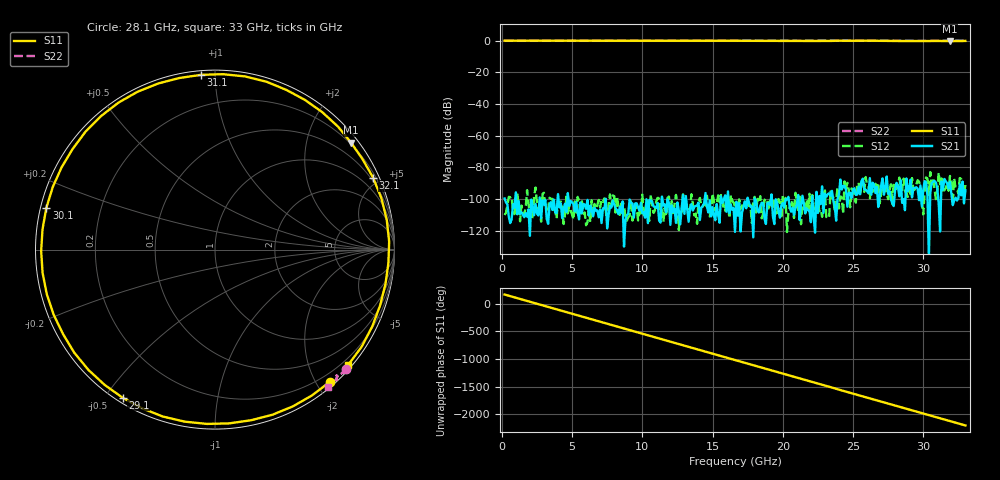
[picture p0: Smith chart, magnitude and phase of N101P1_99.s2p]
# GHZ S RI R 50
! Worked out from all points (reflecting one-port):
!   329 points, 200 MHz to 33 GHz, reference 50 ohm
!   lowest |S11| = -0.3 dB at 31.9 GHz (marker M1), VSWR 54.78, Z = 8.54 + j144 ohm
!   phase of S11 starts at 165 deg and turns -2366 deg over the sweep
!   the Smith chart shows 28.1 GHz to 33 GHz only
!   S11 on the Smith chart (normalised r, x): 28.1 GHz: 0.07, -2.19; 29.1 GHz: 0.02, -0.55; 30.1 GHz: 0.02, +0.12; 31.1 GHz: 0.02, +0.92; 32.1 GHz: 0.36, +4.59; 33 GHz: 0.08, -2.67
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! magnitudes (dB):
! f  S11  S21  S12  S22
! 200 MHz  0.0  -99.7  -110.2  0.0
! 5.7 GHz  0.0  -109.1  -101.5  0.0
! 11.2 GHz  -0.1  -113.7  -99.8  -0.1
! 16.6 GHz  -0.1  -120.8  -104.9  0.0
! 18.6 GHz  -0.2  -102.6  -109.5  -0.1
! 20 GHz  -0.2  -102.6  -97.6  -0.1
! 22.1 GHz  -0.2  -98.2  -97.6  0.0
! 23.4 GHz  -0.2  -98.0  -95.3  0.0
! 23.5 GHz  -0.2  -95.0  -99.4  0.0
! 23.9 GHz  0.1  -100.0  -92.7  0.1
! 24.2 GHz  -0.1  -94.1  -99.0  0.1
! 25 GHz  -0.1  -94.4  -95.3  0.1
! 25.6 GHz  0.0  -88.8  -89.6  0.0
! 27.6 GHz  -0.2  -95.1  -94.9  -0.1
! 28.1 GHz  -0.2  -89.8  -93.6  -0.1
! 29.1 GHz  -0.2  -87.9  -97.1  -0.1
! 30.1 GHz  -0.3  -88.8  -95.3  -0.2
! 31.1 GHz  -0.2  -103.0  -83.4  -0.1
! 31.9 GHz  -0.3  -89.3  -85.5  -0.1
! 32.1 GHz  -0.3  -103.9  -103.3  -0.1
! 32.6 GHz  -0.3  -90.7  -86.9  0.0
! 33 GHz  -0.2  -94.5  -91.3  -0.1
